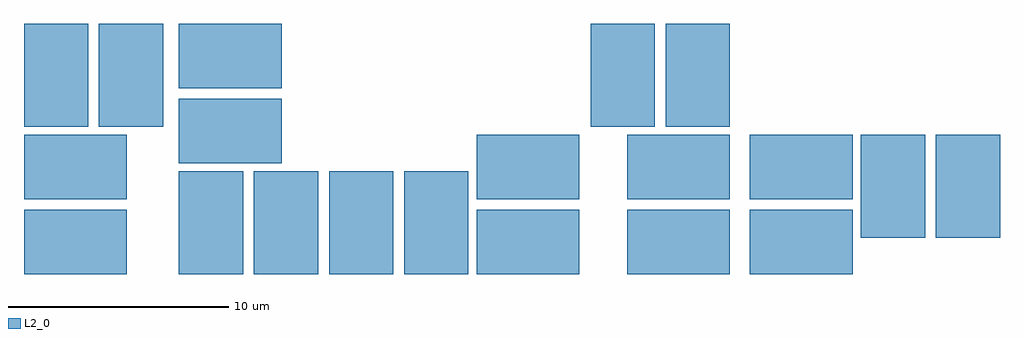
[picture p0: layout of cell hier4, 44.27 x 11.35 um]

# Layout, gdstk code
from math import pi, radians
import gdstk
lib = gdstk.Library(unit=1e-6, precision=5e-10)
def R(c, l, rs):  # rectangles x0, y0, x1, y1
    for r in rs: c.add(gdstk.rectangle(r[:2], r[2:], *l))
L2_0 = (2, 0)

hier1 = lib.new_cell('hier1')
R(hier1, L2_0, [(0,0,4.66,2.92)])

hier2 = lib.new_cell('hier2')
hier2.add(gdstk.Reference(hier1, (0,0.48)))
hier2.add(gdstk.Reference(hier1, (0,0), x_reflection=True))

hier3 = lib.new_cell('hier3')
hier3.add(gdstk.Reference(hier2, (0,-3.4)))
hier3.add(gdstk.Reference(hier2, (2.92,0.37), rotation=pi/2, x_reflection=True))

hier4 = lib.new_cell('hier4')
hier4.add(gdstk.Reference(hier3, (37.95,6.32), rotation=3*pi/2, x_reflection=True))
hier4.add(gdstk.Reference(hier3, (32.02,6.32), rotation=pi, x_reflection=True))
hier4.add(gdstk.Reference(hier3, (20.16,0), rotation=pi/2, x_reflection=True))
hier4.add(gdstk.Reference(hier3, (7.02,5.03), x_reflection=True))
hier4.add(gdstk.Reference(hier3, (0,6.32)))

lib.write_gds('hier4.gds')
